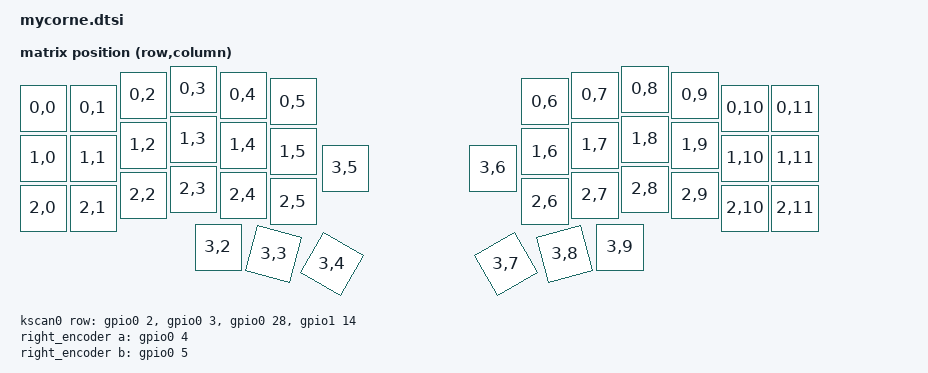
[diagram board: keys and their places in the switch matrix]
#include <dt-bindings/zmk/matrix_transform.h>
#include <physical_layouts.dtsi>

/ {
        chosen {
                zmk,physical-layout = <&physical_layout0>;
        };

        physical_layout0: physical_layout_0 {
                compatible = "zmk,physical-layout";
                display-name = "LAYOUT";
                kscan = <&kscan0>;
                transform = <&default_transform>;

                keys  //                     w   h    x    y     rot    rx    ry
                        = <&key_physical_attrs 100 100    0   38       0     0     0>
                        , <&key_physical_attrs 100 100  100   38       0     0     0>
                        , <&key_physical_attrs 100 100  200   12       0     0     0>
                        , <&key_physical_attrs 100 100  300    0       0     0     0>
                        , <&key_physical_attrs 100 100  400   12       0     0     0>
                        , <&key_physical_attrs 100 100  500   25       0     0     0>
                        , <&key_physical_attrs 100 100 1004   25       0     0     0>
                        , <&key_physical_attrs 100 100 1104   12       0     0     0>
                        , <&key_physical_attrs 100 100 1204    0       0     0     0>
                        , <&key_physical_attrs 100 100 1304   12       0     0     0>
                        , <&key_physical_attrs 100 100 1404   38       0     0     0>
                        , <&key_physical_attrs 100 100 1504   38       0     0     0>
                        , <&key_physical_attrs 100 100    0  138       0     0     0>
                        , <&key_physical_attrs 100 100  100  138       0     0     0>
                        , <&key_physical_attrs 100 100  200  112       0     0     0>
                        , <&key_physical_attrs 100 100  300  100       0     0     0>
                        , <&key_physical_attrs 100 100  400  112       0     0     0>
                        , <&key_physical_attrs 100 100  500  125       0     0     0>
                        , <&key_physical_attrs 100 100 1004  125       0     0     0>
                        , <&key_physical_attrs 100 100 1104  112       0     0     0>
                        , <&key_physical_attrs 100 100 1204  100       0     0     0>
                        , <&key_physical_attrs 100 100 1304  112       0     0     0>
                        , <&key_physical_attrs 100 100 1404  138       0     0     0>
                        , <&key_physical_attrs 100 100 1504  138       0     0     0>
                        , <&key_physical_attrs 100 100    0  238       0     0     0>
                        , <&key_physical_attrs 100 100  100  238       0     0     0>
                        , <&key_physical_attrs 100 100  200  212       0     0     0>
                        , <&key_physical_attrs 100 100  300  200       0     0     0>
                        , <&key_physical_attrs 100 100  400  212       0     0     0>
                        , <&key_physical_attrs 100 100  500  225       0     0     0>
                        , <&key_physical_attrs 100 100 1004  225       0     0     0>
                        , <&key_physical_attrs 100 100 1104  212       0     0     0>
                        , <&key_physical_attrs 100 100 1204  200       0     0     0>
                        , <&key_physical_attrs 100 100 1304  212       0     0     0>
                        , <&key_physical_attrs 100 100 1404  238       0     0     0>
                        , <&key_physical_attrs 100 100 1504  238       0     0     0>
                        , <&key_physical_attrs 100 100  350  316       0     0     0>
                        , <&key_physical_attrs 100 100  461  330    1500   511   380>
                        , <&key_physical_attrs 100 100  578  350    3000   628   400>
                        , <&key_physical_attrs 100 100  604  158       0     0     0>
                        , <&key_physical_attrs 100 100  900  158       0     0     0>
                        , <&key_physical_attrs 100 100  926  350 (-3000)   976   400>
                        , <&key_physical_attrs 100 100 1043  330 (-1500)  1093   380>
                        , <&key_physical_attrs 100 100 1154  316       0     0     0>
                        ;
        };

        default_transform: keymap_transform_0 {
                compatible = "zmk,matrix-transform";
                columns = <12>;
                rows = <4>;
                // | SW1  | SW2  | SW3  | SW4  | SW5  | SW6  |   | SW6  | SW5  | SW4  | SW3  | SW2  | SW1  |
                // | SW7  | SW8  | SW9  | SW10 | SW11 | SW12 |   | SW12 | SW11 | SW10 | SW9  | SW8  | SW7  |
                // | SW13 | SW14 | SW15 | SW16 | SW17 | SW18 |   | SW18 | SW17 | SW16 | SW15 | SW14 | SW13 |
                //               | SW19 | SW20 | SW21 | SW22 |   | SW22 | SW21 | SW20 | SW19 |
                map = <
                        RC(0,0) RC(0,1) RC(0,2) RC(0,3) RC(0,4) RC(0,5)  RC(0,6) RC(0,7) RC(0,8) RC(0,9) RC(0,10) RC(0,11)
                        RC(1,0) RC(1,1) RC(1,2) RC(1,3) RC(1,4) RC(1,5)  RC(1,6) RC(1,7) RC(1,8) RC(1,9) RC(1,10) RC(1,11)
                        RC(2,0) RC(2,1) RC(2,2) RC(2,3) RC(2,4) RC(2,5)  RC(2,6) RC(2,7) RC(2,8) RC(2,9) RC(2,10) RC(2,11)
                        RC(3,2) RC(3,3) RC(3,4) RC(3,5)  RC(3,6) RC(3,7) RC(3,8) RC(3,9)
                >;
        };

        kscan0: kscan {
                compatible = "zmk,kscan-gpio-matrix";
                label = "KSCAN";
                diode-direction = "col2row";
                row-gpios
                        = <&gpio0 2 (GPIO_ACTIVE_HIGH | GPIO_PULL_DOWN)>
                        , <&gpio0 3 (GPIO_ACTIVE_HIGH | GPIO_PULL_DOWN)>
                        , <&gpio0 28 (GPIO_ACTIVE_HIGH | GPIO_PULL_DOWN)>
                        , <&gpio1 14 (GPIO_ACTIVE_HIGH | GPIO_PULL_DOWN)>
                        ;
        };

        right_encoder: encoder_right {
                compatible = "alps,ec11";
                a-gpios = <&gpio0 4 (GPIO_ACTIVE_HIGH | GPIO_PULL_UP)>;
                b-gpios = <&gpio0 5 (GPIO_ACTIVE_HIGH | GPIO_PULL_UP)>;
                steps = <20>;
                status = "disabled";
        };

        sensors: sensors {
                compatible = "zmk,keymap-sensors";
                triggers-per-rotation = <20>;
                sensors = <&right_encoder>;
        };
};

